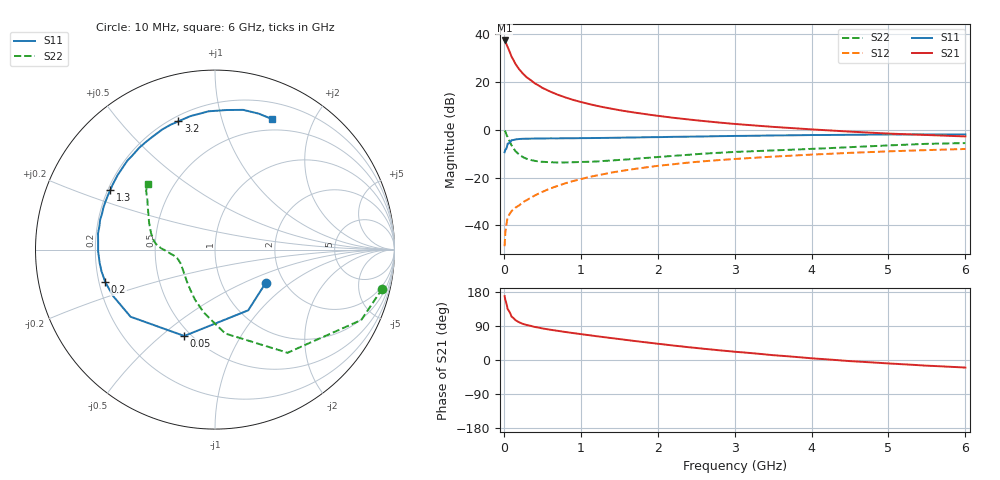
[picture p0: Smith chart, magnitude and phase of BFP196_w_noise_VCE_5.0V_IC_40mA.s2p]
! (c) 2017  Infineon Technologies AG, Munich
! Infineon Technologies  Discrete & RF Semiconductors
! BFP196
! VCE =  5.0 V,  IC =  40 mA
! Common Emitter S-Parameters:  Jan 2017
# GHz  S  MA  R  50
!  f  S11  S21  S12  S22
! GHz  MAG  ANG  MAG  ANG  MAG  ANG  MAG  ANG
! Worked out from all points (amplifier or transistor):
!   77 points, 10 MHz to 6 GHz, reference 50 ohm
!   highest |S21| = 37.2 dB at 10 MHz (marker M1)
!   |S21| within 3 dB of that: start of sweep to 52.81 MHz
!   unconditionally stable (mu >= 1): 615.5 MHz to 2.4 GHz
!   at 130 MHz: K = 0.56, MSG = 30.9 dB, |S12| = -33.1 dB
!   at 2.2 GHz: K = 1.01, MAG = 9.1 dB, |S12| = -14.4 dB
!   at 6 GHz: K = 0.94, MSG = 2.6 dB, |S12| = -8.1 dB
!   lowest NFmin = 1.34 dB at 450 MHz
!   S11 on the Smith chart (normalised r, x): 10 MHz: 1.61, -0.68; 50 MHz: 0.46, -0.60; 200 MHz: 0.23, -0.14; 1.3 GHz: 0.21, +0.25; 3.2 GHz: 0.23, +0.73; 6 GHz: 0.37, +1.47
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0.01  0.338 -33.3  72.56 168.4  0.0037 81.2  0.9577 -13.1
0.02  0.3855 -61.3  69.81 157.9  0.0074 75.4  0.9042 -25.7
0.05  0.5108 -109.6  52.57 134.1  0.0147 56.3  0.7027 -54.9
0.1  0.6011 -141.5  33.39 114.5  0.0199 52.0  0.4709 -83.1
0.15  0.6245 -155.7  23.61 105.2  0.0235 51.5  0.3577 -99.8
0.2  0.6375 -163.5  18.12 99.4  0.0263 54.5  0.3006 -111.8
0.25  0.6437 -169.2  14.64 95.1  0.0307 56.1  0.266 -120.5
0.3  0.6468 -173.2  12.26 92.2  0.034 57.8  0.2452 -128.0
0.4  0.6512 -179.1  9.302 87.3  0.042 61.2  0.223 -138.2
0.5  0.6527 176.1  7.457 83.4  0.0502 63.6  0.2133 -145.8
0.6  0.6579 172.1  6.248 80.0  0.059 64.2  0.2092 -151.3
0.7  0.657 168.8  5.359 77.0  0.067 65.2  0.2061 -155.6
0.9  0.6605 162.2  4.177 71.1  0.0845 64.3  0.2088 -161.3
1.1  0.6661 156.3  3.443 65.7  0.1019 62.9  0.2134 -165.7
1.3  0.6709 150.4  2.927 60.4  0.1181 61.1  0.2218 -168.9
1.7  0.6861 139.6  2.269 50.2  0.1513 56.7  0.246 -174.2
2.1  0.7017 129.1  1.855 40.7  0.1823 51.3  0.2756 -178.7
3.1  0.7404 107.7  1.278 20.2  0.2496 38.2  0.3473 170.7
3.2  0.7432 105.9  1.242 18.5  0.2554 37.0  0.3522 169.3
4.1  0.7722 91.1  0.991 3.1  0.3062 26.2  0.4027 156.1
5.1  0.7937 77.3  0.816 -10.2  0.3565 14.6  0.4755 142.7
6  0.7936 66.3  0.721 -20.0  0.3948 4.5  0.5239 135.6
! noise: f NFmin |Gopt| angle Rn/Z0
0.45  1.34  0.36  177  0.05
0.9  1.49  0.46  -167  0.07
1.9  2.31  0.68  -133  0.28
2.4  2.71  0.7  -120  0.62
